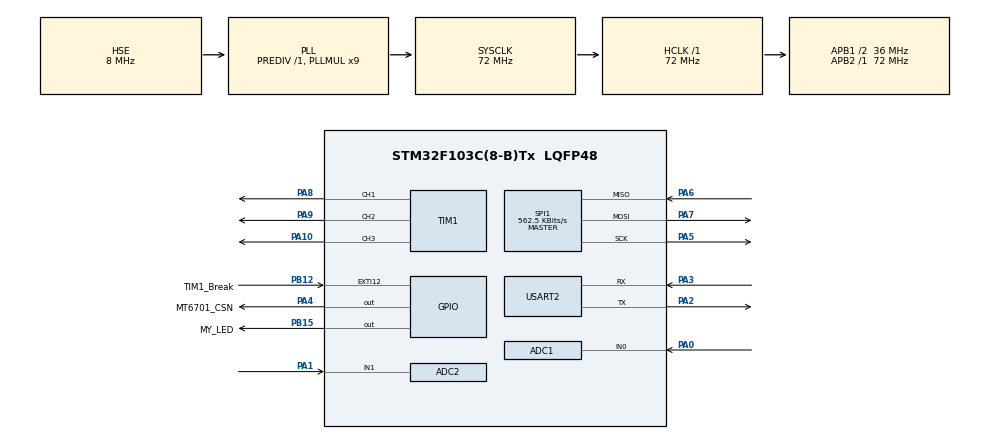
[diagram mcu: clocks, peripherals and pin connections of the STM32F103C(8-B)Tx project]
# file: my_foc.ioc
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ADC1.Channel-1\#ChannelInjectedConversion=ADC_CHANNEL_0
ADC1.ContinuousConvMode=ENABLE
ADC1.EnableAnalogWatchDog=false
ADC1.EnableInjectedConversion=ENABLE
ADC1.EnableRegularConversion=DISABLE
ADC1.ExternalTrigInjecConv=ADC_EXTERNALTRIGINJECCONV_T1_TRGO
ADC1.InjNumberOfConversion=1
ADC1.InjectedOffset-1\#ChannelInjectedConversion=0
ADC1.InjectedRank-1\#ChannelInjectedConversion=1
ADC1.Mode=ADC_DUALMODE_INJECSIMULT
ADC1.SamplingTime-1\#ChannelInjectedConversion=ADC_SAMPLETIME_7CYCLES_5
ADC1.master=1
ADC2.Channel-1\#ChannelInjectedConversion=ADC_CHANNEL_1
ADC2.ContinuousConvMode=ENABLE
ADC2.EnableInjectedConversion=ENABLE
ADC2.EnableRegularConversion=DISABLE
ADC2.InjNumberOfConversion=1
ADC2.InjectedOffset-1\#ChannelInjectedConversion=0
ADC2.InjectedRank-1\#ChannelInjectedConversion=1
ADC2.Mode=ADC_DUALMODE_INJECSIMULT
ADC2.SamplingTime-1\#ChannelInjectedConversion=ADC_SAMPLETIME_7CYCLES_5
Dma.Request0=SPI1_RX
Dma.Request1=SPI1_TX
Dma.SPI1_RX.0.Direction=DMA_PERIPH_TO_MEMORY
Dma.SPI1_RX.0.Instance=DMA1_Channel2
Dma.SPI1_RX.0.MemDataAlignment=DMA_MDATAALIGN_BYTE
Dma.SPI1_RX.0.MemInc=DMA_MINC_ENABLE
Dma.SPI1_RX.0.Mode=DMA_NORMAL
Dma.SPI1_RX.0.PeriphDataAlignment=DMA_PDATAALIGN_BYTE
Dma.SPI1_RX.0.PeriphInc=DMA_PINC_DISABLE
Dma.SPI1_RX.0.Priority=DMA_PRIORITY_LOW
Dma.SPI1_TX.1.Direction=DMA_MEMORY_TO_PERIPH
Dma.SPI1_TX.1.Instance=DMA1_Channel3
Dma.SPI1_TX.1.MemDataAlignment=DMA_MDATAALIGN_BYTE
Dma.SPI1_TX.1.MemInc=DMA_MINC_ENABLE
Dma.SPI1_TX.1.Mode=DMA_NORMAL
Dma.SPI1_TX.1.PeriphDataAlignment=DMA_PDATAALIGN_BYTE
Dma.SPI1_TX.1.PeriphInc=DMA_PINC_DISABLE
Dma.SPI1_TX.1.Priority=DMA_PRIORITY_LOW
Mcu.Family=STM32F1
Mcu.Name=STM32F103C(8-B)Tx
Mcu.Package=LQFP48
Mcu.UserConstants=speed_calc_freq,motor_speed_calc_freq;pwm_freq,motor_pwm_freq
NVIC.ADC1_2_IRQn=true\:1\:0\:true\:false\:true\:true\:true\:true
NVIC.DMA1_Channel2_IRQn=true\:0\:0\:false\:false\:true\:false\:true\:true
NVIC.DMA1_Channel3_IRQn=true\:0\:0\:false\:false\:true\:false\:true\:true
NVIC.EXTI15_10_IRQn=true\:3\:0\:true\:false\:true\:true\:true\:true
NVIC.PriorityGroup=NVIC_PRIORITYGROUP_4
NVIC.TIM3_IRQn=true\:1\:0\:true\:false\:true\:true\:true\:true
PA0-WKUP.Signal=ADCx_IN0
PA1.Signal=ADCx_IN1
PA10.Signal=S_TIM1_CH3
PA13.Mode=Serial_Wire
PA13.Signal=SYS_JTMS-SWDIO
PA14.Mode=Serial_Wire
PA14.Signal=SYS_JTCK-SWCLK
PA2.Mode=Asynchronous
PA2.Signal=USART2_TX
PA3.Mode=Asynchronous
PA3.Signal=USART2_RX
PA4.GPIO_Label=MT6701_CSN
PA4.Signal=GPIO_Output
PA5.Mode=Full_Duplex_Master
PA5.Signal=SPI1_SCK
PA6.Mode=Full_Duplex_Master
PA6.Signal=SPI1_MISO
PA7.Mode=Full_Duplex_Master
PA7.Signal=SPI1_MOSI
PA8.Signal=S_TIM1_CH1
PA9.Signal=S_TIM1_CH2
PB12.GPIO_Label=TIM1_Break
PB12.Signal=GPXTI12
PB15.GPIO_Label=MY_LED
PB15.Signal=GPIO_Output
PD0-OSC_IN.Mode=HSE-External-Oscillator
PD0-OSC_IN.Signal=RCC_OSC_IN
PD1-OSC_OUT.Mode=HSE-External-Oscillator
PD1-OSC_OUT.Signal=RCC_OSC_OUT
ProjectManager.HeapSize=0x200
ProjectManager.StackSize=0x400
ProjectManager.TargetToolchain=STM32CubeIDE
RCC.ADCPresc=RCC_ADCPCLK2_DIV6
RCC.AHBFreq_Value=72000000
RCC.APB1CLKDivider=RCC_HCLK_DIV2
RCC.APB1Freq_Value=36000000
RCC.APB1TimFreq_Value=72000000
RCC.APB2Freq_Value=72000000
RCC.APB2TimFreq_Value=72000000
RCC.HCLKFreq_Value=72000000
RCC.PLLMUL=RCC_PLL_MUL9
RCC.PLLSourceVirtual=RCC_PLLSOURCE_HSE
RCC.SYSCLKFreq_VALUE=72000000
RCC.SYSCLKSource=RCC_SYSCLKSOURCE_PLLCLK
RCC.USBFreq_Value=72000000
SH.ADCx_IN0.0=ADC1_IN0,IN0
SH.ADCx_IN1.0=ADC2_IN1,IN1
SH.S_TIM1_CH1.0=TIM1_CH1,PWM Generation1 CH1
SH.S_TIM1_CH2.0=TIM1_CH2,PWM Generation2 CH2
SH.S_TIM1_CH3.0=TIM1_CH3,PWM Generation3 CH3
SPI1.BaudRatePrescaler=SPI_BAUDRATEPRESCALER_128
SPI1.CLKPhase=SPI_PHASE_2EDGE
SPI1.CalculateBaudRate=562.5 KBits/s
SPI1.Direction=SPI_DIRECTION_2LINES
SPI1.Mode=SPI_MODE_MASTER
SPI1.VirtualType=VM_MASTER
STMicroelectronics.X-CUBE-ALGOBUILD.1.4.0.LibraryCcDSPOoLibraryJjDSPOoLibrary=true
TIM1.AutoReloadPreload=TIM_AUTORELOAD_PRELOAD_ENABLE
TIM1.BreakPolarity=TIM_BREAKPOLARITY_LOW
TIM1.Channel-PWM\ Generation1\ CH1=TIM_CHANNEL_1
TIM1.Channel-PWM\ Generation2\ CH2=TIM_CHANNEL_2
TIM1.Channel-PWM\ Generation3\ CH3=TIM_CHANNEL_3
TIM1.CounterMode=TIM_COUNTERMODE_CENTERALIGNED3
TIM1.LockLevel=TIM_LOCKLEVEL_1
TIM1.Period=(72*1000000/motor_pwm_freq)
TIM1.RepetitionCounter=4
TIM1.TIM_MasterOutputTrigger=TIM_TRGO_UPDATE
TIM3.Period=1000000/speed_calc_freq
TIM3.Prescaler=72-1
USART2.VirtualMode=VM_ASYNC
VP_STMicroelectronics.X-CUBE-ALGOBUILD_VS_DSPOoLibraryJjLibrary_1.4.0_1.4.0.Mode=DSPOoLibraryJjLibrary
VP_TIM1_VS_ClockSourceINT.Mode=Internal
VP_TIM3_VS_ClockSourceINT.Mode=Internal
board=custom

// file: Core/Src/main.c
/* USER CODE BEGIN Header */
/**
  ******************************************************************************
  * @file           : main.c
  * @brief          : Main program body
  ******************************************************************************
  * @attention
  *
  * Copyright (c) 2025 STMicroelectronics.
  * All rights reserved.
  *
  * This software is licensed under terms that can be found in the LICENSE file
  * in the root directory of this software component.
  * If no LICENSE file comes with this software, it is provided AS-IS.
  *
  ******************************************************************************
  */
/* USER CODE END Header */
#include "main.h"
#include "adc.h"
#include "dma.h"
#include "spi.h"
#include "tim.h"
#include "usart.h"
#include "gpio.h"

/* USER CODE BEGIN PV */
uint8_t step = 1;
uint16_t duty_cycle = 1800; // 50% 占空比 (1800/3600)
uint16_t speed_delay = 50;   // 换相延迟 (ms), 控制转速
/* USER CODE END PV */

void SystemClock_Config(void);
/* USER CODE BEGIN PFP */
void BLDC_Commutate(uint8_t step, uint16_t duty);
/* USER CODE END PFP */

int main(void)
{

  /* MCU Configuration--------------------------------------------------------*/

  /* Reset of all peripherals, Initializes the Flash interface and the Systick. */
  HAL_Init();

  /* Configure the system clock */
  SystemClock_Config();

  /* Initialize all configured peripherals */
  MX_GPIO_Init();
  MX_DMA_Init();
  MX_SPI1_Init();
  MX_USART2_UART_Init();
  MX_TIM1_Init();
  MX_TIM3_Init();
  MX_ADC1_Init();
  MX_ADC2_Init();
  /* USER CODE BEGIN 2 */
  __HAL_TIM_MOE_ENABLE(&htim1); // 使能TIM1主输出
  /* USER CODE END 2 */

  /* Infinite loop */
  while (1)
  {

    /* USER CODE BEGIN 3 */
    BLDC_Commutate(step, duty_cycle);
    HAL_Delay(speed_delay);
    step++;
    if(step > 6)
    {
      step = 1;
    }
  }
  /* USER CODE END 3 */
}

void SystemClock_Config(void)
{
  RCC_OscInitTypeDef RCC_OscInitStruct = {0};
  RCC_ClkInitTypeDef RCC_ClkInitStruct = {0};
  RCC_PeriphCLKInitTypeDef PeriphClkInit = {0};

  /** Initializes the RCC Oscillators according to the specified parameters
  * in the RCC_OscInitTypeDef structure.
  */
  RCC_OscInitStruct.OscillatorType = RCC_OSCILLATORTYPE_HSE;
  RCC_OscInitStruct.HSEState = RCC_HSE_ON;
  RCC_OscInitStruct.HSEPredivValue = RCC_HSE_PREDIV_DIV1;
  RCC_OscInitStruct.HSIState = RCC_HSI_ON;
  RCC_OscInitStruct.PLL.PLLState = RCC_PLL_ON;
  RCC_OscInitStruct.PLL.PLLSource = RCC_PLLSOURCE_HSE;
  RCC_OscInitStruct.PLL.PLLMUL = RCC_PLL_MUL9;
  if (HAL_RCC_OscConfig(&RCC_OscInitStruct) != HAL_OK)
  {
    Error_Handler();
  }

  /** Initializes the CPU, AHB and APB buses clocks
  */
  RCC_ClkInitStruct.ClockType = RCC_CLOCKTYPE_HCLK|RCC_CLOCKTYPE_SYSCLK
                              |RCC_CLOCKTYPE_PCLK1|RCC_CLOCKTYPE_PCLK2;
  RCC_ClkInitStruct.SYSCLKSource = RCC_SYSCLKSOURCE_PLLCLK;
  RCC_ClkInitStruct.AHBCLKDivider = RCC_SYSCLK_DIV1;
  RCC_ClkInitStruct.APB1CLKDivider = RCC_HCLK_DIV2;
  RCC_ClkInitStruct.APB2CLKDivider = RCC_HCLK_DIV1;

  if (HAL_RCC_ClockConfig(&RCC_ClkInitStruct, FLASH_LATENCY_2) != HAL_OK)
  {
    Error_Handler();
  }
  PeriphClkInit.PeriphClockSelection = RCC_PERIPHCLK_ADC;
  PeriphClkInit.AdcClockSelection = RCC_ADCPCLK2_DIV6;
  if (HAL_RCCEx_PeriphCLKConfig(&PeriphClkInit) != HAL_OK)
  {
    Error_Handler();
  }
}

/* USER CODE BEGIN 4 */
void BLDC_Commutate(uint8_t step, uint16_t duty)
{
    TIM_OC_InitTypeDef sConfigOC_PWM = {0};
    TIM_OC_InitTypeDef sConfigOC_LOW = {0};

    // 配置PWM模式
    sConfigOC_PWM.OCMode = TIM_OCMODE_PWM1;
    sConfigOC_PWM.Pulse = duty;
    sConfigOC_PWM.OCPolarity = TIM_OCPOLARITY_HIGH;
    sConfigOC_PWM.OCFastMode = TIM_OCFAST_DISABLE;

    // 配置强制低电平模式
    sConfigOC_LOW.OCMode = TIM_OCMODE_FORCED_INACTIVE;
    sConfigOC_LOW.Pulse = 0;
    sConfigOC_LOW.OCPolarity = TIM_OCPOLARITY_HIGH;
    sConfigOC_LOW.OCFastMode = TIM_OCFAST_DISABLE;

    // 停止所有通道，进入高阻态
    HAL_TIM_OC_Stop(&htim1, TIM_CHANNEL_1);
    HAL_TIM_OC_Stop(&htim1, TIM_CHANNEL_2);
    HAL_TIM_OC_Stop(&htim1, TIM_CHANNEL_3);

    switch(step)
    {
        case 1: // U->V, W Hi-Z
            HAL_TIM_PWM_ConfigChannel(&htim1, &sConfigOC_PWM, TIM_CHANNEL_1);
            HAL_TIM_PWM_Start(&htim1, TIM_CHANNEL_1);
            HAL_TIM_OC_ConfigChannel(&htim1, &sConfigOC_LOW, TIM_CHANNEL_2);
            HAL_TIM_OC_Start(&htim1, TIM_CHANNEL_2);
            break;
        case 2: // W->V, U Hi-Z
            HAL_TIM_PWM_ConfigChannel(&htim1, &sConfigOC_PWM, TIM_CHANNEL_3);
            HAL_TIM_PWM_Start(&htim1, TIM_CHANNEL_3);
            HAL_TIM_OC_ConfigChannel(&htim1, &sConfigOC_LOW, TIM_CHANNEL_2);
            HAL_TIM_OC_Start(&htim1, TIM_CHANNEL_2);
            break;
        case 3: // W->U, V Hi-Z
            HAL_TIM_PWM_ConfigChannel(&htim1, &sConfigOC_PWM, TIM_CHANNEL_3);
            HAL_TIM_PWM_Start(&htim1, TIM_CHANNEL_3);
            HAL_TIM_OC_ConfigChannel(&htim1, &sConfigOC_LOW, TIM_CHANNEL_1);
            HAL_TIM_OC_Start(&htim1, TIM_CHANNEL_1);
            break;
        case 4: // V->U, W Hi-Z
            HAL_TIM_PWM_ConfigChannel(&htim1, &sConfigOC_PWM, TIM_CHANNEL_2);
            HAL_TIM_PWM_Start(&htim1, TIM_CHANNEL_2);
            HAL_TIM_OC_ConfigChannel(&htim1, &sConfigOC_LOW, TIM_CHANNEL_1);
            HAL_TIM_OC_Start(&htim1, TIM_CHANNEL_1);
            break;
        case 5: // V->W, U Hi-Z
            HAL_TIM_PWM_ConfigChannel(&htim1, &sConfigOC_PWM, TIM_CHANNEL_2);
            HAL_TIM_PWM_Start(&htim1, TIM_CHANNEL_2);
            HAL_TIM_OC_ConfigChannel(&htim1, &sConfigOC_LOW, TIM_CHANNEL_3);
            HAL_TIM_OC_Start(&htim1, TIM_CHANNEL_3);
            break;
        case 6: // U->W, V Hi-Z
            HAL_TIM_PWM_ConfigChannel(&htim1, &sConfigOC_PWM, TIM_CHANNEL_1);
            HAL_TIM_PWM_Start(&htim1, TIM_CHANNEL_1);
            HAL_TIM_OC_ConfigChannel(&htim1, &sConfigOC_LOW, TIM_CHANNEL_3);
            HAL_TIM_OC_Start(&htim1, TIM_CHANNEL_3);
            break;
    }
}
/* USER CODE END 4 */

void Error_Handler(void)
{
  __disable_irq();
  while (1)
  {
  }
}
